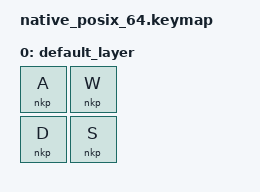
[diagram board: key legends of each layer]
#include <dt-bindings/zmk/keys.h>
#include <behaviors.dtsi>
#include <behaviors/non_overlap.dtsi>
#include <dt-bindings/zmk/kscan_mock.h>

/*
 * Press in sequence WASD. Release in every possible way.
 * Non-overlap keys that remain pressed should be resumed in the correct order.
 */

&nkp {
    resume-capacity = <3>;
};

/ {
    keymap {
        compatible = "zmk,keymap";

        default_layer {
            bindings = <
                &nkp A &nkp W
                &nkp D &nkp S>;
        };
    };
};

&kscan {
    events = <
        // Release DSWA. Resume SA.
        ZMK_MOCK_PRESS(0,1,10)   // W
        ZMK_MOCK_PRESS(0,0,10)   // A
        ZMK_MOCK_PRESS(1,1,10)   // S
        ZMK_MOCK_PRESS(1,0,10)   // D
        ZMK_MOCK_RELEASE(1,0,10) // D
        ZMK_MOCK_RELEASE(1,1,10) // S
        ZMK_MOCK_RELEASE(0,1,10) // W
        ZMK_MOCK_RELEASE(0,0,10) // A
        // Release DASW. Resume SW.
        ZMK_MOCK_PRESS(0,1,10)   // W
        ZMK_MOCK_PRESS(0,0,10)   // A
        ZMK_MOCK_PRESS(1,1,10)   // S
        ZMK_MOCK_PRESS(1,0,10)   // D
        ZMK_MOCK_RELEASE(1,0,10) // D
        ZMK_MOCK_RELEASE(0,0,10) // A
        ZMK_MOCK_RELEASE(1,1,10) // S
        ZMK_MOCK_RELEASE(0,1,10) // W
        // Release DAWS. Resume S.
        ZMK_MOCK_PRESS(0,1,10)   // W
        ZMK_MOCK_PRESS(0,0,10)   // A
        ZMK_MOCK_PRESS(1,1,10)   // S
        ZMK_MOCK_PRESS(1,0,10)   // D
        ZMK_MOCK_RELEASE(1,0,10) // D
        ZMK_MOCK_RELEASE(0,0,10) // A
        ZMK_MOCK_RELEASE(0,1,10) // W
        ZMK_MOCK_RELEASE(1,1,10) // S
        // Release DWSA. Resume SA.
        ZMK_MOCK_PRESS(0,1,10)   // W
        ZMK_MOCK_PRESS(0,0,10)   // A
        ZMK_MOCK_PRESS(1,1,10)   // S
        ZMK_MOCK_PRESS(1,0,10)   // D
        ZMK_MOCK_RELEASE(1,0,10) // D
        ZMK_MOCK_RELEASE(0,1,10) // W
        ZMK_MOCK_RELEASE(1,1,10) // S
        ZMK_MOCK_RELEASE(0,0,10) // A
        // Release DWAS. Resume S.
        ZMK_MOCK_PRESS(0,1,10)   // W
        ZMK_MOCK_PRESS(0,0,10)   // A
        ZMK_MOCK_PRESS(1,1,10)   // S
        ZMK_MOCK_PRESS(1,0,10)   // D
        ZMK_MOCK_RELEASE(1,0,10) // D
        ZMK_MOCK_RELEASE(0,1,10) // W
        ZMK_MOCK_RELEASE(0,0,10) // A
        ZMK_MOCK_RELEASE(1,1,10) // S
        // Release SDAW. Resume AW.
        ZMK_MOCK_PRESS(0,1,10)   // W
        ZMK_MOCK_PRESS(0,0,10)   // A
        ZMK_MOCK_PRESS(1,1,10)   // S
        ZMK_MOCK_PRESS(1,0,10)   // D
        ZMK_MOCK_RELEASE(1,1,10) // S
        ZMK_MOCK_RELEASE(1,0,10) // D
        ZMK_MOCK_RELEASE(0,0,10) // A
        ZMK_MOCK_RELEASE(0,1,10) // W
        // Release SDWA. Resume A.
        ZMK_MOCK_PRESS(0,1,10)   // W
        ZMK_MOCK_PRESS(0,0,10)   // A
        ZMK_MOCK_PRESS(1,1,10)   // S
        ZMK_MOCK_PRESS(1,0,10)   // D
        ZMK_MOCK_RELEASE(1,1,10) // S
        ZMK_MOCK_RELEASE(1,0,10) // D
        ZMK_MOCK_RELEASE(0,1,10) // W
        ZMK_MOCK_RELEASE(0,0,10) // A
        // Release SADW. Resume W.
        ZMK_MOCK_PRESS(0,1,10)   // W
        ZMK_MOCK_PRESS(0,0,10)   // A
        ZMK_MOCK_PRESS(1,1,10)   // S
        ZMK_MOCK_PRESS(1,0,10)   // D
        ZMK_MOCK_RELEASE(1,1,10) // S
        ZMK_MOCK_RELEASE(0,0,10) // A
        ZMK_MOCK_RELEASE(1,0,10) // D
        ZMK_MOCK_RELEASE(0,1,10) // W
        // Release SAWD. No resume.
        ZMK_MOCK_PRESS(0,1,10)   // W
        ZMK_MOCK_PRESS(0,0,10)   // A
        ZMK_MOCK_PRESS(1,1,10)   // S
        ZMK_MOCK_PRESS(1,0,10)   // D
        ZMK_MOCK_RELEASE(1,1,10) // S
        ZMK_MOCK_RELEASE(0,0,10) // A
        ZMK_MOCK_RELEASE(0,1,10) // W
        ZMK_MOCK_RELEASE(1,0,10) // D
        // Release SWDA. Resume A.
        ZMK_MOCK_PRESS(0,1,10)   // W
        ZMK_MOCK_PRESS(0,0,10)   // A
        ZMK_MOCK_PRESS(1,1,10)   // S
        ZMK_MOCK_PRESS(1,0,10)   // D
        ZMK_MOCK_RELEASE(1,1,10) // S
        ZMK_MOCK_RELEASE(0,1,10) // W
        ZMK_MOCK_RELEASE(1,0,10) // D
        ZMK_MOCK_RELEASE(0,0,10) // A
        // Release SWAD. No resume.
        ZMK_MOCK_PRESS(0,1,10)   // W
        ZMK_MOCK_PRESS(0,0,10)   // A
        ZMK_MOCK_PRESS(1,1,10)   // S
        ZMK_MOCK_PRESS(1,0,10)   // D
        ZMK_MOCK_RELEASE(1,1,10) // S
        ZMK_MOCK_RELEASE(0,1,10) // W
        ZMK_MOCK_RELEASE(0,0,10) // A
        ZMK_MOCK_RELEASE(1,0,10) // D
        // Release ADSW. Resume SW.
        ZMK_MOCK_PRESS(0,1,10)   // W
        ZMK_MOCK_PRESS(0,0,10)   // A
        ZMK_MOCK_PRESS(1,1,10)   // S
        ZMK_MOCK_PRESS(1,0,10)   // D
        ZMK_MOCK_RELEASE(0,0,10) // A
        ZMK_MOCK_RELEASE(1,0,10) // D
        ZMK_MOCK_RELEASE(1,1,10) // S
        ZMK_MOCK_RELEASE(0,1,10) // W
        // Release ADWS. Resume S.
        ZMK_MOCK_PRESS(0,1,10)   // W
        ZMK_MOCK_PRESS(0,0,10)   // A
        ZMK_MOCK_PRESS(1,1,10)   // S
        ZMK_MOCK_PRESS(1,0,10)   // D
        ZMK_MOCK_RELEASE(0,0,10) // A
        ZMK_MOCK_RELEASE(1,0,10) // D
        ZMK_MOCK_RELEASE(0,1,10) // W
        ZMK_MOCK_RELEASE(1,1,10) // S
        // Release ASDW. Resume W.
        ZMK_MOCK_PRESS(0,1,10)   // W
        ZMK_MOCK_PRESS(0,0,10)   // A
        ZMK_MOCK_PRESS(1,1,10)   // S
        ZMK_MOCK_PRESS(1,0,10)   // D
        ZMK_MOCK_RELEASE(0,0,10) // A
        ZMK_MOCK_RELEASE(1,1,10) // S
        ZMK_MOCK_RELEASE(1,0,10) // D
        ZMK_MOCK_RELEASE(0,1,10) // W
        // Release ASWD. No resume.
        ZMK_MOCK_PRESS(0,1,10)   // W
        ZMK_MOCK_PRESS(0,0,10)   // A
        ZMK_MOCK_PRESS(1,1,10)   // S
        ZMK_MOCK_PRESS(1,0,10)   // D
        ZMK_MOCK_RELEASE(0,0,10) // A
        ZMK_MOCK_RELEASE(1,1,10) // S
        ZMK_MOCK_RELEASE(0,1,10) // W
        ZMK_MOCK_RELEASE(1,0,10) // D
        // Release AWDS. Resume S.
        ZMK_MOCK_PRESS(0,1,10)   // W
        ZMK_MOCK_PRESS(0,0,10)   // A
        ZMK_MOCK_PRESS(1,1,10)   // S
        ZMK_MOCK_PRESS(1,0,10)   // D
        ZMK_MOCK_RELEASE(0,0,10) // A
        ZMK_MOCK_RELEASE(0,1,10) // W
        ZMK_MOCK_RELEASE(1,0,10) // D
        ZMK_MOCK_RELEASE(1,1,10) // S
        // Release AWSD. No resume.
        ZMK_MOCK_PRESS(0,1,10)   // W
        ZMK_MOCK_PRESS(0,0,10)   // A
        ZMK_MOCK_PRESS(1,1,10)   // S
        ZMK_MOCK_PRESS(1,0,10)   // D
        ZMK_MOCK_RELEASE(0,0,10) // A
        ZMK_MOCK_RELEASE(0,1,10) // W
        ZMK_MOCK_RELEASE(1,1,10) // S
        ZMK_MOCK_RELEASE(1,0,10) // D
        // Release WDSA. Resume SA.
        ZMK_MOCK_PRESS(0,1,10)   // W
        ZMK_MOCK_PRESS(0,0,10)   // A
        ZMK_MOCK_PRESS(1,1,10)   // S
        ZMK_MOCK_PRESS(1,0,10)   // D
        ZMK_MOCK_RELEASE(0,1,10) // W
        ZMK_MOCK_RELEASE(1,0,10) // D
        ZMK_MOCK_RELEASE(1,1,10) // S
        ZMK_MOCK_RELEASE(0,0,10) // A
        // Release WDAS. Resume S.
        ZMK_MOCK_PRESS(0,1,10)   // W
        ZMK_MOCK_PRESS(0,0,10)   // A
        ZMK_MOCK_PRESS(1,1,10)   // S
        ZMK_MOCK_PRESS(1,0,10)   // D
        ZMK_MOCK_RELEASE(0,1,10) // W
        ZMK_MOCK_RELEASE(1,0,10) // D
        ZMK_MOCK_RELEASE(0,0,10) // A
        ZMK_MOCK_RELEASE(1,1,10) // S
        // Release WSDA. Resume A.
        ZMK_MOCK_PRESS(0,1,10)   // W
        ZMK_MOCK_PRESS(0,0,10)   // A
        ZMK_MOCK_PRESS(1,1,10)   // S
        ZMK_MOCK_PRESS(1,0,10)   // D
        ZMK_MOCK_RELEASE(0,1,10) // W
        ZMK_MOCK_RELEASE(1,1,10) // S
        ZMK_MOCK_RELEASE(1,0,10) // D
        ZMK_MOCK_RELEASE(0,0,10) // A
        // Release WSAD. No resume.
        ZMK_MOCK_PRESS(0,1,10)   // W
        ZMK_MOCK_PRESS(0,0,10)   // A
        ZMK_MOCK_PRESS(1,1,10)   // S
        ZMK_MOCK_PRESS(1,0,10)   // D
        ZMK_MOCK_RELEASE(0,1,10) // W
        ZMK_MOCK_RELEASE(1,1,10) // S
        ZMK_MOCK_RELEASE(0,0,10) // A
        ZMK_MOCK_RELEASE(1,0,10) // D
        // Release WADS. Resume S.
        ZMK_MOCK_PRESS(0,1,10)   // W
        ZMK_MOCK_PRESS(0,0,10)   // A
        ZMK_MOCK_PRESS(1,1,10)   // S
        ZMK_MOCK_PRESS(1,0,10)   // D
        ZMK_MOCK_RELEASE(0,1,10) // W
        ZMK_MOCK_RELEASE(0,0,10) // A
        ZMK_MOCK_RELEASE(1,0,10) // D
        ZMK_MOCK_RELEASE(1,1,10) // S
        // Release WASD. No resume.
        ZMK_MOCK_PRESS(0,1,10)   // W
        ZMK_MOCK_PRESS(0,0,10)   // A
        ZMK_MOCK_PRESS(1,1,10)   // S
        ZMK_MOCK_PRESS(1,0,10)   // D
        ZMK_MOCK_RELEASE(0,1,10) // W
        ZMK_MOCK_RELEASE(0,0,10) // A
        ZMK_MOCK_RELEASE(1,1,10) // S
        ZMK_MOCK_RELEASE(1,0,10) // D
    >;
};
